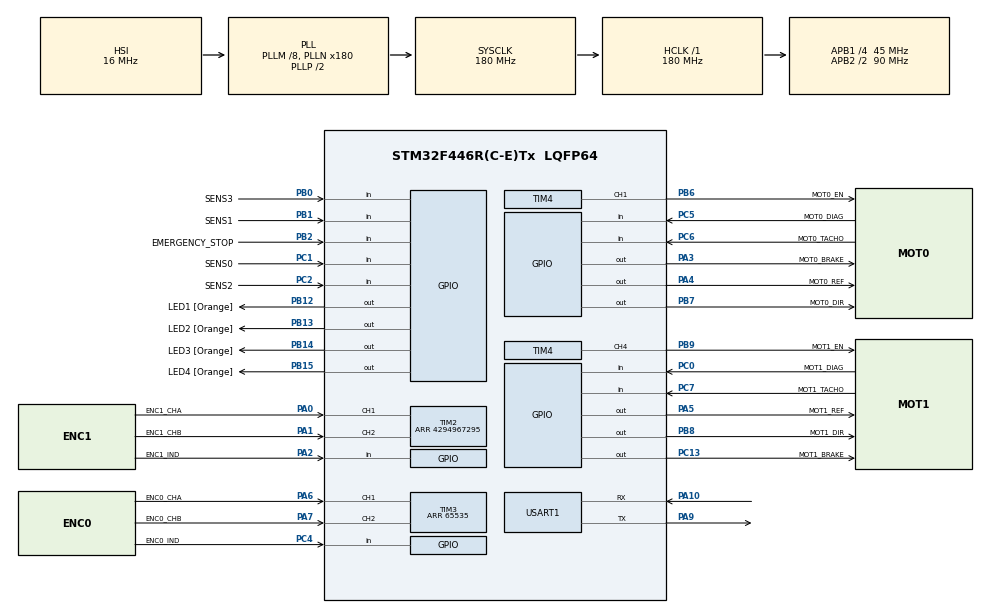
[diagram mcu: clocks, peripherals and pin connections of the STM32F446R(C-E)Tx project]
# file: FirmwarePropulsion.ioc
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FREERTOS.Tasks01=defaultTask,0,128,StartDefaultTask,Default,NULL,Dynamic,NULL,NULL;dialogTask,-3,128,StartDialogTask,Default,NULL,Dynamic,NULL,NULL;blinkLed,-3,128,StartBlinkLedTask,Default,NULL,Dynamic,NULL,NULL
FREERTOS.configTICK_RATE_HZ=100
Mcu.Family=STM32F4
Mcu.Name=STM32F446R(C-E)Tx
Mcu.Package=LQFP64
NVIC.PriorityGroup=NVIC_PRIORITYGROUP_4
NVIC.TIM1_UP_TIM10_IRQn=true\:0\:0\:false\:false\:true\:false\:false
NVIC.TIM3_IRQn=true\:5\:0\:false\:false\:true\:true\:true
NVIC.TimeBase=TIM1_UP_TIM10_IRQn
NVIC.TimeBaseIP=TIM1
NVIC.USART1_IRQn=true\:5\:0\:false\:false\:true\:true\:true
PA0-WKUP.GPIO_Label=ENC1_CHA
PA0-WKUP.GPIO_PuPd=GPIO_NOPULL
PA0-WKUP.GPIO_Speed=GPIO_SPEED_FREQ_HIGH
PA0-WKUP.Signal=S_TIM2_CH1_ETR
PA1.GPIO_Label=ENC1_CHB
PA1.GPIO_PuPd=GPIO_NOPULL
PA1.GPIO_Speed=GPIO_SPEED_FREQ_HIGH
PA1.Signal=S_TIM2_CH2
PA10.Mode=Asynchronous
PA10.Signal=USART1_RX
PA2.GPIO_Label=ENC1_IND
PA2.Signal=GPIO_Input
PA3.GPIO_Label=MOT0_BRAKE
PA3.Signal=GPIO_Output
PA4.GPIO_Label=MOT0_REF
PA4.Signal=GPIO_Output
PA5.GPIO_Label=MOT1_REF
PA5.Signal=GPIO_Output
PA6.GPIO_Label=ENC0_CHA
PA6.GPIO_Speed=GPIO_SPEED_FREQ_HIGH
PA6.Signal=S_TIM3_CH1
PA7.GPIO_Label=ENC0_CHB
PA7.GPIO_Speed=GPIO_SPEED_FREQ_HIGH
PA7.Signal=S_TIM3_CH2
PA8.Signal=I2C3_SCL
PA9.Mode=Asynchronous
PA9.Signal=USART1_TX
PB0.GPIO_Label=SENS3
PB0.Signal=GPIO_Input
PB1.GPIO_Label=SENS1
PB1.Signal=GPIO_Input
PB12.GPIO_Label=LED1 [Orange]
PB12.Signal=GPIO_Output
PB13.GPIO_Label=LED2 [Orange]
PB13.Signal=GPIO_Output
PB14.GPIO_Label=LED3 [Orange]
PB14.Signal=GPIO_Output
PB15.GPIO_Label=LED4 [Orange]
PB15.Signal=GPIO_Output
PB2.GPIO_Label=EMERGENCY_STOP
PB2.Signal=GPIO_Input
PB6.GPIO_Label=MOT0_EN
PB6.Signal=S_TIM4_CH1
PB7.GPIO_Label=MOT0_DIR
PB7.Signal=GPIO_Output
PB8.GPIO_Label=MOT1_DIR
PB8.Signal=GPIO_Output
PB9.GPIO_Label=MOT1_EN
PB9.Signal=S_TIM4_CH4
PC0.GPIO_Label=MOT1_DIAG
PC0.Signal=GPIO_Input
PC1.GPIO_Label=SENS0
PC1.Signal=GPIO_Input
PC13.GPIO_Label=MOT1_BRAKE
PC13.Signal=GPIO_Output
PC2.GPIO_Label=SENS2
PC2.Signal=GPIO_Input
PC4.GPIO_Label=ENC0_IND
PC4.Signal=GPIO_Input
PC5.GPIO_Label=MOT0_DIAG
PC5.Signal=GPIO_Input
PC6.GPIO_Label=MOT0_TACHO
PC6.Signal=GPIO_Input
PC7.GPIO_Label=MOT1_TACHO
PC7.Signal=GPIO_Input
PC9.Signal=I2C3_SDA
ProjectManager.HeapSize=0x200
ProjectManager.StackSize=0x400
ProjectManager.TargetToolchain=SW4STM32
RCC.AHBFreq_Value=180000000
RCC.APB1CLKDivider=RCC_HCLK_DIV4
RCC.APB1Freq_Value=45000000
RCC.APB1TimFreq_Value=90000000
RCC.APB2CLKDivider=RCC_HCLK_DIV2
RCC.APB2Freq_Value=90000000
RCC.APB2TimFreq_Value=180000000
RCC.CortexFreq_Value=180000000
RCC.HCLKFreq_Value=180000000
RCC.PLLM=8
RCC.PLLN=180
RCC.SYSCLKFreq_VALUE=180000000
RCC.SYSCLKSource=RCC_SYSCLKSOURCE_PLLCLK
RCC.USBFreq_Value=180000000
RCC.VCOOutputFreq_Value=360000000
SH.S_TIM2_CH1_ETR.0=TIM2_CH1,Encoder_Interface
SH.S_TIM2_CH2.0=TIM2_CH2,Encoder_Interface
SH.S_TIM3_CH1.0=TIM3_CH1,Encoder_Interface
SH.S_TIM3_CH2.0=TIM3_CH2,Encoder_Interface
SH.S_TIM4_CH1.0=TIM4_CH1,PWM Generation1 CH1
SH.S_TIM4_CH4.0=TIM4_CH4,PWM Generation4 CH4
TIM2.EncoderMode=TIM_ENCODERMODE_TI12
TIM2.IC1Polarity=TIM_ICPOLARITY_RISING
TIM2.IC2Polarity=TIM_ICPOLARITY_RISING
TIM2.Period=4294967295
TIM3.EncoderMode=TIM_ENCODERMODE_TI12
TIM3.Period=65535
TIM3.TIM_MasterOutputTrigger=TIM_TRGO_RESET
TIM4.Channel-PWM\ Generation1\ CH1=TIM_CHANNEL_1
TIM4.Channel-PWM\ Generation4\ CH4=TIM_CHANNEL_4
TIM4.Period=9000
TIM4.Pulse-PWM\ Generation1\ CH1=2250
TIM4.Pulse-PWM\ Generation4\ CH4=2250
USART1.VirtualMode=VM_ASYNC
VP_FREERTOS_VS_ENABLE.Mode=Enabled
VP_SYS_VS_tim1.Mode=TIM1
board=FirmwarePropulsion

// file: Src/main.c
/**
  ******************************************************************************
  * File Name          : main.c
  * Description        : Main program body
  ******************************************************************************
  * This notice applies to any and all portions of this file
  * that are not between comment pairs USER CODE BEGIN and
  * USER CODE END. Other portions of this file, whether
  * inserted by the user or by software development tools
  * are owned by their respective copyright owners.
  *
  * Copyright (c) 2017 STMicroelectronics International N.V.
  * All rights reserved.
  *
  * Redistribution and use in source and binary forms, with or without
  * modification, are permitted, provided that the following conditions are met:
  *
  * 1. Redistribution of source code must retain the above copyright notice,
  *    this list of conditions and the following disclaimer.
  * 2. Redistributions in binary form must reproduce the above copyright notice,
  *    this list of conditions and the following disclaimer in the documentation
  *    and/or other materials provided with the distribution.
  * 3. Neither the name of STMicroelectronics nor the names of other
  *    contributors to this software may be used to endorse or promote products
  *    derived from this software without specific written permission.
  * 4. This software, including modifications and/or derivative works of this
  *    software, must execute solely and exclusively on microcontroller or
  *    microprocessor devices manufactured by or for STMicroelectronics.
  * 5. Redistribution and use of this software other than as permitted under
  *    this license is void and will automatically terminate your rights under
  *    this license.
  *
  * THIS SOFTWARE IS PROVIDED BY STMICROELECTRONICS AND CONTRIBUTORS "AS IS"
  * AND ANY EXPRESS, IMPLIED OR STATUTORY WARRANTIES, INCLUDING, BUT NOT
  * LIMITED TO, THE IMPLIED WARRANTIES OF MERCHANTABILITY, FITNESS FOR A
  * PARTICULAR PURPOSE AND NON-INFRINGEMENT OF THIRD PARTY INTELLECTUAL PROPERTY
  * RIGHTS ARE DISCLAIMED TO THE FULLEST EXTENT PERMITTED BY LAW. IN NO EVENT
  * SHALL STMICROELECTRONICS OR CONTRIBUTORS BE LIABLE FOR ANY DIRECT, INDIRECT,
  * INCIDENTAL, SPECIAL, EXEMPLARY, OR CONSEQUENTIAL DAMAGES (INCLUDING, BUT NOT
  * LIMITED TO, PROCUREMENT OF SUBSTITUTE GOODS OR SERVICES; LOSS OF USE, DATA,
  * OR PROFITS; OR BUSINESS INTERRUPTION) HOWEVER CAUSED AND ON ANY THEORY OF
  * LIABILITY, WHETHER IN CONTRACT, STRICT LIABILITY, OR TORT (INCLUDING
  * NEGLIGENCE OR OTHERWISE) ARISING IN ANY WAY OUT OF THE USE OF THIS SOFTWARE,
  * EVEN IF ADVISED OF THE POSSIBILITY OF SUCH DAMAGE.
  *
  ******************************************************************************
  */

#include "main.h"
#include "stm32f4xx_hal.h"
#include "cmsis_os.h"
#include "tim.h"
#include "usart.h"
#include "gpio.h"

/* USER CODE BEGIN PV */
/* Private variables ---------------------------------------------------------*/

/* USER CODE END PV */

void SystemClock_Config(void);
void MX_FREERTOS_Init(void);

/* USER CODE BEGIN PFP */
/* Private function prototypes -----------------------------------------------*/

/* USER CODE END PFP */

int main(void)
{

  /* USER CODE BEGIN 1 */
  uint32_t count = 0;

  /* USER CODE END 1 */

  /* MCU Configuration----------------------------------------------------------*/

  /* Reset of all peripherals, Initializes the Flash interface and the Systick. */
  HAL_Init();

  /* Configure the system clock */
  SystemClock_Config();

  /* Initialize all configured peripherals */
  MX_GPIO_Init();
  MX_TIM2_Init();
  MX_TIM3_Init();
  MX_USART1_UART_Init();
  MX_TIM4_Init();

  /* USER CODE BEGIN 2 */
  // Leds on
  HAL_GPIO_WritePin(LED1_GPIO_Port, LED1_Pin, GPIO_PIN_RESET);
  HAL_GPIO_WritePin(LED2_GPIO_Port, LED2_Pin, GPIO_PIN_RESET);
  HAL_GPIO_WritePin(LED3_GPIO_Port, LED3_Pin, GPIO_PIN_RESET);
  HAL_GPIO_WritePin(LED4_GPIO_Port, LED4_Pin, GPIO_PIN_RESET);

  // Init and Start Encoders Counters
  __HAL_TIM_SET_COUNTER(&htim2, 2147483647);
//  __HAL_TIM_SET_COUNTER(&htim3, 32767);
  HAL_TIM_Encoder_Start(&htim2, TIM_CHANNEL_ALL);
  HAL_TIM_Encoder_Start_IT(&htim3, TIM_CHANNEL_ALL);
  __HAL_TIM_ENABLE_IT(&htim3, TIM_IT_UPDATE);

  // Init and Start Motors
  HAL_GPIO_WritePin(MOT0_REF_GPIO_Port,   MOT0_REF_Pin,   GPIO_PIN_SET);
  HAL_GPIO_WritePin(MOT1_REF_GPIO_Port,   MOT1_REF_Pin,   GPIO_PIN_SET);
  HAL_GPIO_WritePin(MOT0_BRAKE_GPIO_Port, MOT0_BRAKE_Pin, GPIO_PIN_SET);
  HAL_GPIO_WritePin(MOT1_BRAKE_GPIO_Port, MOT1_BRAKE_Pin, GPIO_PIN_SET);
  HAL_GPIO_WritePin(MOT0_DIR_GPIO_Port,   MOT0_DIR_Pin,   GPIO_PIN_SET);
  HAL_GPIO_WritePin(MOT1_DIR_GPIO_Port,   MOT1_DIR_Pin,   GPIO_PIN_SET);
  HAL_TIM_PWM_Start(&htim4, TIM_CHANNEL_1);
  HAL_TIM_PWM_Start(&htim4, TIM_CHANNEL_4);
//  HAL_GPIO_WritePin(MOT1_EN_GPIO_Port,   MOT1_EN_Pin,   GPIO_PIN_SET);

  // Change Run value motors (100%=9000)
//  __HAL_TIM_SET_COMPARE(&htim4, TIM_CHANNEL_1, 0);
//  __HAL_TIM_SET_COMPARE(&htim4, TIM_CHANNEL_4, 0);

  // Must be first called here
  printf("FirmwarePropulsion (" __DATE__ " - " __TIME__ ")\r\n");
  /* USER CODE END 2 */

  /* Call init function for freertos objects (in freertos.c) */
  MX_FREERTOS_Init();

  /* Start scheduler */
  osKernelStart();

  /* We should never get here as control is now taken by the scheduler */

  /* Infinite loop */
  while (1)
  {

  /* USER CODE BEGIN 3 */
	// Encoder test
	count = __HAL_TIM_GET_COUNTER(&htim3);
	count = __HAL_TIM_GET_COUNTER(&htim3);

  }
  /* USER CODE END 3 */

}

/** System Clock Configuration
*/
void SystemClock_Config(void)
{

  RCC_OscInitTypeDef RCC_OscInitStruct;
  RCC_ClkInitTypeDef RCC_ClkInitStruct;

    /**Configure the main internal regulator output voltage
    */
  __HAL_RCC_PWR_CLK_ENABLE();

  __HAL_PWR_VOLTAGESCALING_CONFIG(PWR_REGULATOR_VOLTAGE_SCALE1);

    /**Initializes the CPU, AHB and APB busses clocks
    */
  RCC_OscInitStruct.OscillatorType = RCC_OSCILLATORTYPE_HSI;
  RCC_OscInitStruct.HSIState = RCC_HSI_ON;
  RCC_OscInitStruct.HSICalibrationValue = 16;
  RCC_OscInitStruct.PLL.PLLState = RCC_PLL_ON;
  RCC_OscInitStruct.PLL.PLLSource = RCC_PLLSOURCE_HSI;
  RCC_OscInitStruct.PLL.PLLM = 8;
  RCC_OscInitStruct.PLL.PLLN = 180;
  RCC_OscInitStruct.PLL.PLLP = RCC_PLLP_DIV2;
  RCC_OscInitStruct.PLL.PLLQ = 2;
  RCC_OscInitStruct.PLL.PLLR = 2;
  if (HAL_RCC_OscConfig(&RCC_OscInitStruct) != HAL_OK)
  {
    _Error_Handler(__FILE__, __LINE__);
  }

    /**Activate the Over-Drive mode
    */
  if (HAL_PWREx_EnableOverDrive() != HAL_OK)
  {
    _Error_Handler(__FILE__, __LINE__);
  }

    /**Initializes the CPU, AHB and APB busses clocks
    */
  RCC_ClkInitStruct.ClockType = RCC_CLOCKTYPE_HCLK|RCC_CLOCKTYPE_SYSCLK
                              |RCC_CLOCKTYPE_PCLK1|RCC_CLOCKTYPE_PCLK2;
  RCC_ClkInitStruct.SYSCLKSource = RCC_SYSCLKSOURCE_PLLCLK;
  RCC_ClkInitStruct.AHBCLKDivider = RCC_SYSCLK_DIV1;
  RCC_ClkInitStruct.APB1CLKDivider = RCC_HCLK_DIV4;
  RCC_ClkInitStruct.APB2CLKDivider = RCC_HCLK_DIV2;

  if (HAL_RCC_ClockConfig(&RCC_ClkInitStruct, FLASH_LATENCY_5) != HAL_OK)
  {
    _Error_Handler(__FILE__, __LINE__);
  }

    /**Configure the Systick interrupt time
    */
  HAL_SYSTICK_Config(HAL_RCC_GetHCLKFreq()/1000);

    /**Configure the Systick
    */
  HAL_SYSTICK_CLKSourceConfig(SYSTICK_CLKSOURCE_HCLK);

  /* SysTick_IRQn interrupt configuration */
  HAL_NVIC_SetPriority(SysTick_IRQn, 15, 0);
}

/* USER CODE BEGIN 4 */
volatile int32_t carry = 0;
/* USER CODE END 4 */

void HAL_TIM_PeriodElapsedCallback(TIM_HandleTypeDef *htim)
{
  if (htim->Instance == TIM1) {
    HAL_IncTick();
  }
/* USER CODE BEGIN Callback 1 */
  if (htim->Instance == TIM3) {

		if(__HAL_TIM_DIRECTION_STATUS(htim))
			carry--;
		else
			carry++;
  }
/* USER CODE END Callback 1 */
}

void _Error_Handler(char * file, int line)
{
  while(1)
  {
  }
}

/************************ (C) COPYRIGHT STMicroelectronics *****END OF FILE****/

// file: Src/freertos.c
/**
  ******************************************************************************
  * File Name          : freertos.c
  * Description        : Code for freertos applications
  ******************************************************************************
  * This notice applies to any and all portions of this file
  * that are not between comment pairs USER CODE BEGIN and
  * USER CODE END. Other portions of this file, whether
  * inserted by the user or by software development tools
  * are owned by their respective copyright owners.
  *
  * Copyright (c) 2017 STMicroelectronics International N.V.
  * All rights reserved.
  *
  * Redistribution and use in source and binary forms, with or without
  * modification, are permitted, provided that the following conditions are met:
  *
  * 1. Redistribution of source code must retain the above copyright notice,
  *    this list of conditions and the following disclaimer.
  * 2. Redistributions in binary form must reproduce the above copyright notice,
  *    this list of conditions and the following disclaimer in the documentation
  *    and/or other materials provided with the distribution.
  * 3. Neither the name of STMicroelectronics nor the names of other
  *    contributors to this software may be used to endorse or promote products
  *    derived from this software without specific written permission.
  * 4. This software, including modifications and/or derivative works of this
  *    software, must execute solely and exclusively on microcontroller or
  *    microprocessor devices manufactured by or for STMicroelectronics.
  * 5. Redistribution and use of this software other than as permitted under
  *    this license is void and will automatically terminate your rights under
  *    this license.
  *
  * THIS SOFTWARE IS PROVIDED BY STMICROELECTRONICS AND CONTRIBUTORS "AS IS"
  * AND ANY EXPRESS, IMPLIED OR STATUTORY WARRANTIES, INCLUDING, BUT NOT
  * LIMITED TO, THE IMPLIED WARRANTIES OF MERCHANTABILITY, FITNESS FOR A
  * PARTICULAR PURPOSE AND NON-INFRINGEMENT OF THIRD PARTY INTELLECTUAL PROPERTY
  * RIGHTS ARE DISCLAIMED TO THE FULLEST EXTENT PERMITTED BY LAW. IN NO EVENT
  * SHALL STMICROELECTRONICS OR CONTRIBUTORS BE LIABLE FOR ANY DIRECT, INDIRECT,
  * INCIDENTAL, SPECIAL, EXEMPLARY, OR CONSEQUENTIAL DAMAGES (INCLUDING, BUT NOT
  * LIMITED TO, PROCUREMENT OF SUBSTITUTE GOODS OR SERVICES; LOSS OF USE, DATA,
  * OR PROFITS; OR BUSINESS INTERRUPTION) HOWEVER CAUSED AND ON ANY THEORY OF
  * LIABILITY, WHETHER IN CONTRACT, STRICT LIABILITY, OR TORT (INCLUDING
  * NEGLIGENCE OR OTHERWISE) ARISING IN ANY WAY OUT OF THE USE OF THIS SOFTWARE,
  * EVEN IF ADVISED OF THE POSSIBILITY OF SUCH DAMAGE.
  *
  ******************************************************************************
  */

#include "FreeRTOS.h"
#include "task.h"
#include "cmsis_os.h"

/* USER CODE BEGIN Includes */
#include "gpio.h"
#include "dialog.h"
#include "stdio.h"

/* USER CODE END Includes */

osThreadId defaultTaskHandle;
osThreadId dialogTaskHandle;
osThreadId blinkLedHandle;

void StartDefaultTask(void const * argument);
void StartDialogTask(void const * argument);
void StartBlinkLedTask(void const * argument);

void MX_FREERTOS_Init(void); /* (MISRA C 2004 rule 8.1) */

/* Hook prototypes */

/* Init FreeRTOS */

void MX_FREERTOS_Init(void) {

  /* Create the thread(s) */
  /* definition and creation of defaultTask */
  osThreadDef(defaultTask, StartDefaultTask, osPriorityNormal, 0, 128);
  defaultTaskHandle = osThreadCreate(osThread(defaultTask), NULL);

  /* definition and creation of dialogTask */
  osThreadDef(dialogTask, StartDialogTask, osPriorityIdle, 0, 128);
  dialogTaskHandle = osThreadCreate(osThread(dialogTask), NULL);

  /* definition and creation of blinkLed */
  osThreadDef(blinkLed, StartBlinkLedTask, osPriorityIdle, 0, 128);
  blinkLedHandle = osThreadCreate(osThread(blinkLed), NULL);

}

/* StartDefaultTask function */
void StartDefaultTask(void const * argument)
{

  /* USER CODE BEGIN StartDefaultTask */
  /* Infinite loop */
  for(;;)
  {
    osDelay(1000);
  }
  /* USER CODE END StartDefaultTask */
}

/* StartDialogTask function */
void StartDialogTask(void const * argument)
{
  /* USER CODE BEGIN StartDialogTask */
	//  Dialog_Init(&huart2);
	Dialog_Init(&huart1);
	osDelay(500);
	printf("StartComTask\r\n");
	/* Infinite loop */
	for(;;)
	{
	//osDelay(1000);
	Dialog_Process();
	}
  /* USER CODE END StartDialogTask */
}

/* StartBlinkLedTask function */
void StartBlinkLedTask(void const * argument)
{
  /* USER CODE BEGIN StartBlinkLedTask */
  /* Infinite loop */
  for(;;)
  {
	HAL_GPIO_WritePin(LED4_GPIO_Port, LED4_Pin, GPIO_PIN_SET);
	osDelay(250);
	HAL_GPIO_WritePin(LED4_GPIO_Port, LED4_Pin, GPIO_PIN_RESET);
	osDelay(250);
  }
  /* USER CODE END StartBlinkLedTask */
}

/************************ (C) COPYRIGHT STMicroelectronics *****END OF FILE****/
